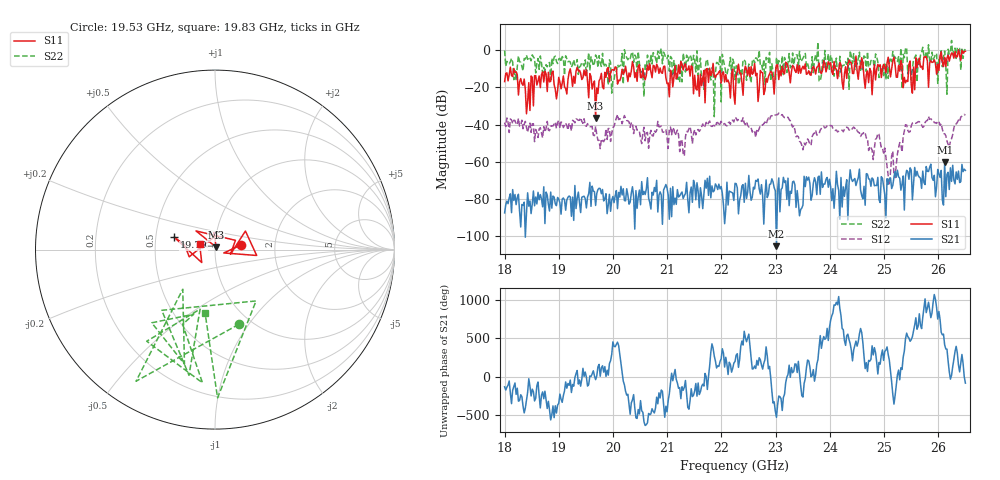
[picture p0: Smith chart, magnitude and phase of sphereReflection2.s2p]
!Keysight Technologies,N5242B,MY47200105,A.14.00.23
!Date: Friday, May 10, 2024 11:27:01
!Correction: S11(C  2-Port  )
!S21(C  2-Port  )
!S12(C  2-Port  )
!S22(C  2-Port  )
!S2P File: Measurement: :
# Hz S  RI  R 50
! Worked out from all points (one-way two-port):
!   401 points, 18 GHz to 26.5 GHz, reference 50 ohm
!   highest |S21| = -60.31 dB at 26.12 GHz (marker M1); lowest = -105.5 dB at 23.02 GHz (marker M2)
!   lowest |S11| = -36.5 dB at 19.68 GHz (marker M3), VSWR 1.03, Z = 50.6 + j1.39 ohm
!   |S11| at or under -10 dB: 18.17 GHz to 19.21 GHz (1.039 GHz wide, 5.56 % of centre); 19.35 GHz to 19.89 GHz (543 MHz wide, 2.77 % of centre); 21.86 GHz to 22.3 GHz (443.7 MHz wide, 2.01 % of centre) (the widest 3 of 63)
!   |S22| runs from -35.8 to 5.3 dB; largest |S21 - S12| = 0.02
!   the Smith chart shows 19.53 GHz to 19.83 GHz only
!   S11 on the Smith chart (normalised r, x): 19.53 GHz: 1.34, +0.07; 19.79 GHz: 0.62, +0.09; 19.83 GHz: 0.84, +0.05
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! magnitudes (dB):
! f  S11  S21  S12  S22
! 18 GHz  -16.9  -87.6  -38.9  -0.1
! 18.19 GHz  -12.0  -77.7  -37.8  -11.0
! 18.43 GHz  -27.6  -76.8  -44.2  -4.9
! 18.72 GHz  -17.1  -73.5  -41.1  -9.3
! 19.42 GHz  -15.8  -79.1  -38.3  -6.4
! 19.53 GHz  -16.7  -79.0  -39.5  -7.2
! 19.68 GHz  -36.5  -83.6  -40.9  -2.6
! 19.79 GHz  -12.5  -77.3  -47.8  -8.7
! 19.83 GHz  -20.8  -81.1  -49.2  -8.9
! 20.1 GHz  -16.2  -76.6  -37.4  -8.9
! 20.38 GHz  -8.9  -78.8  -44.9  -6.5
! 20.55 GHz  -9.8  -77.8  -44.6  -13.5
! 20.85 GHz  -12.4  -78.0  -41.2  -4.5
! 21.27 GHz  -7.5  -76.3  -48.8  -17.0
! 22.25 GHz  -29.1  -71.7  -36.2  -15.9
! 23.02 GHz  -8.0  -105.5  -34.7  -3.8
! 23.67 GHz  -10.1  -78.2  -46.3  -3.5
! 24.89 GHz  -7.6  -68.4  -44.8  -6.3
! 25.1 GHz  -9.2  -69.2  -72.5  -6.2
! 25.54 GHz  -9.1  -72.2  -38.9  -5.0
! 26.12 GHz  -3.8  -60.3  -44.9  -0.4
! 26.5 GHz  -0.5  -64.7  -34.9  0.6
